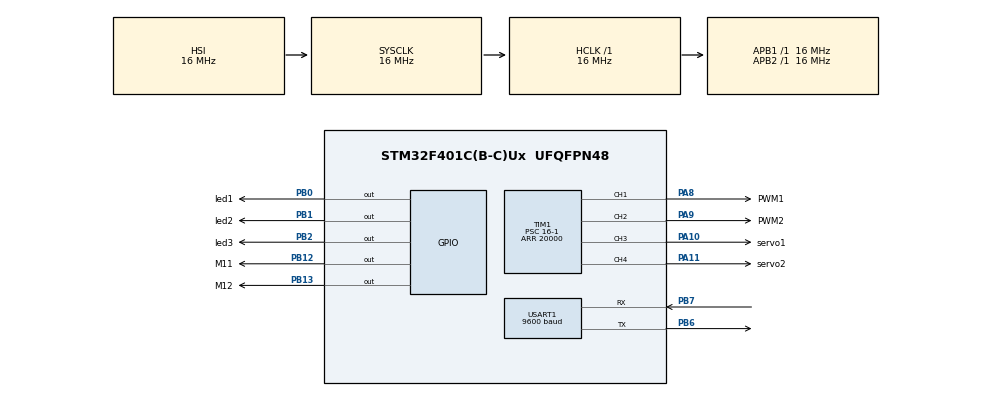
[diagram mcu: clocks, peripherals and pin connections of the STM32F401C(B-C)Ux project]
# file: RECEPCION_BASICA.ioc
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Mcu.Family=STM32F4
Mcu.Name=STM32F401C(B-C)Ux
Mcu.Package=UFQFPN48
Mcu.UserConstants=PWM1_CH,TIM_CHANNEL_1;PWM2_CH,TIM_CHANNEL_2;PWM1,TIM1->CCR1;PWM2,TIM1->CCR2;PWMTIM1,TIM1;PWMT1,$$_TIM1_IP_HANDLE_$$;SERVO1_CH,TIM_CHANNEL_3;SERVO2_CH,TIM_CHANNEL_4;SERVO1,TIM1->CCR3;SERVO2,TIM1->CCR4
NVIC.PriorityGroup=NVIC_PRIORITYGROUP_4
PA10.GPIO_Label=servo1
PA10.Signal=S_TIM1_CH3
PA11.GPIO_Label=servo2
PA11.Signal=S_TIM1_CH4
PA8.GPIO_Label=PWM1
PA8.Signal=S_TIM1_CH1
PA9.GPIO_Label=PWM2
PA9.Signal=S_TIM1_CH2
PB0.GPIO_Label=led1
PB0.Signal=GPIO_Output
PB1.GPIO_Label=led2
PB1.Signal=GPIO_Output
PB12.GPIO_Label=M11
PB12.Signal=GPIO_Output
PB13.GPIO_Label=M12
PB13.Signal=GPIO_Output
PB2.GPIO_Label=led3
PB2.Signal=GPIO_Output
PB6.Mode=Asynchronous
PB6.Signal=USART1_TX
PB7.Mode=Asynchronous
PB7.Signal=USART1_RX
PH0\ -\ OSC_IN.Mode=HSE-External-Oscillator
PH0\ -\ OSC_IN.Signal=RCC_OSC_IN
PH1\ -\ OSC_OUT.Mode=HSE-External-Oscillator
PH1\ -\ OSC_OUT.Signal=RCC_OSC_OUT
ProjectManager.HeapSize=0x200
ProjectManager.StackSize=0x400
ProjectManager.TargetToolchain=STM32CubeIDE
RCC.AHBFreq_Value=16000000
RCC.APB1Freq_Value=16000000
RCC.APB2Freq_Value=16000000
RCC.CortexFreq_Value=16000000
RCC.HSE_VALUE=25000000
RCC.HSI_VALUE=16000000
RCC.LSE_VALUE=32768
RCC.SYSCLKFreq_VALUE=16000000
RCC.VCOOutputFreq_Value=192000000
SH.S_TIM1_CH1.0=TIM1_CH1,PWM Generation1 CH1
SH.S_TIM1_CH2.0=TIM1_CH2,PWM Generation2 CH2
SH.S_TIM1_CH3.0=TIM1_CH3,PWM Generation3 CH3
SH.S_TIM1_CH4.0=TIM1_CH4,PWM Generation4 CH4
TIM1.Channel-PWM\ Generation1\ CH1=TIM_CHANNEL_1
TIM1.Channel-PWM\ Generation2\ CH2=TIM_CHANNEL_2
TIM1.Channel-PWM\ Generation3\ CH3=TIM_CHANNEL_3
TIM1.Channel-PWM\ Generation4\ CH4=TIM_CHANNEL_4
TIM1.Period=20000
TIM1.Prescaler=16-1
USART1.BaudRate=9600
USART1.VirtualMode=VM_ASYNC
VP_TIM1_VS_ClockSourceINT.Mode=Internal
board=custom

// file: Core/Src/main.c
/* USER CODE BEGIN Header */
/**
  ******************************************************************************
  * @file           : main.c
  * @brief          : Main program body
  ******************************************************************************
  * @attention
  *
  * Copyright (c) 2023 STMicroelectronics.
  * All rights reserved.
  *
  * This software is licensed under terms that can be found in the LICENSE file
  * in the root directory of this software component.
  * If no LICENSE file comes with this software, it is provided AS-IS.
  *
  ******************************************************************************
  */
/* USER CODE END Header */
#include "main.h"

/* USER CODE BEGIN Includes */
#include "uart.h"
#include "PWM.h"
#include "servos.h"
/* USER CODE END Includes */

TIM_HandleTypeDef htim1;

UART_HandleTypeDef huart1;

/* USER CODE BEGIN PV */

uint8_t trama_rx[100];
uint8_t texto[100];
uint8_t captura[30];
uint8_t  valor;

/* USER CODE END PV */

void SystemClock_Config(void);
static void MX_GPIO_Init(void);
static void MX_USART1_UART_Init(void);
static void MX_TIM1_Init(void);

/* USER CODE BEGIN 0 */
void m1derecha()
{
HAL_GPIO_WritePin(M11_GPIO_Port, M11_Pin, 0);
HAL_GPIO_WritePin(M12_GPIO_Port, M12_Pin, 1);

}

void m1izquierda()
{
HAL_GPIO_WritePin(M11_GPIO_Port, M11_Pin, 1);
HAL_GPIO_WritePin(M12_GPIO_Port, M12_Pin, 0);

}

void m1stop()
{
	HAL_GPIO_WritePin(M11_GPIO_Port, M11_Pin, 0);
	HAL_GPIO_WritePin(M12_GPIO_Port, M12_Pin, 0);

}
void procesarx()
{
	if (strstr(trama_rx,"M1DER")) m1derecha();
	else if (strstr(trama_rx,"M1IZQ")) m1izquierda();
	else if (strstr(trama_rx,"M1STOP")) m1stop();

	else if (strstr(trama_rx,"LED2="))
	 {
	 if (strstr(trama_rx,"ON"))  led2_GPIO_Port->BSRR=led2_Pin;  //pone un uno
	 else led2_GPIO_Port->BSRR=led2_Pin<<16; //pode un cero
	 }

	else if (strstr(trama_rx,"LED3="))
		 {
		 if (strstr(trama_rx,"ON"))  led3_GPIO_Port->BSRR=led3_Pin;  //pone un uno
		 else  HAL_GPIO_WritePin(led3_GPIO_Port, led3_Pin, 0);		 }

	else if (strstr(trama_rx,"LEDON="))
	{
		  strcpy(texto, strtok(trama_rx, "="));  //inicia captura de tokens
      	strcpy(texto, strtok(0, "/"));  //captura primer dato
         valor=atoi(texto);

         switch  (valor)
         {
         case 2:
        	 HAL_GPIO_WritePin(led2_GPIO_Port, led2_Pin, 1);

        	 break;

         case 3:
        	 HAL_GPIO_WritePin(led3_GPIO_Port, led3_Pin, 1);

        	 break;

         }//switch

	}//else if

	else if (strstr(trama_rx,"LEDOFF="))
		{
			  strcpy(texto, strtok(trama_rx, "="));  //inicia captura de tokens
	      	strcpy(texto, strtok(0, "/"));  //captura primer dato
	         valor=atoi(texto);

	         switch  (valor)
	         {
	         case 2:
	        	 HAL_GPIO_WritePin(led2_GPIO_Port, led2_Pin, 0);

	        	 break;

	         case 3:
	        	 HAL_GPIO_WritePin(led3_GPIO_Port, led3_Pin, 0);

	        	 break;

	         }//switch

	       		}//else if

	else if (strstr(trama_rx,"VEL1="))
			         	{
			         strcpy(texto, strtok(trama_rx, "="));  //inicia captura de tokens
			          strcpy(texto, strtok(0, "/"));  //captura primer dato
			           valor=atoi(texto);
			          pwm_valor(&PWM1, valor);
			        	}

}
/* USER CODE END 0 */

int main(void)
{

  /* MCU Configuration--------------------------------------------------------*/

  /* Reset of all peripherals, Initializes the Flash interface and the Systick. */
  HAL_Init();

  /* Configure the system clock */
  SystemClock_Config();

  /* Initialize all configured peripherals */
  MX_GPIO_Init();
  MX_USART1_UART_Init();
  MX_TIM1_Init();
  /* USER CODE BEGIN 2 */

    PWM_init(&PWMT1, PWM1_CH); //INICIA DEL TIMER1 EL CANALPWM1
    PWM_init(&PWMT1, PWM2_CH); //INICIA DEL TIMER 1 EL CANAL PWM2

    SERVO_init(&PWMT1, SERVO1_CH);
    SERVO_init(&PWMT1, SERVO2_CH);

    // pwm_valor(&PWM1, 10);
    // pwm_valor(&PWM2, 50);

      SERVO_ANG(&SERVO1, -80);
      SERVO_ANG(&SERVO2, 90);

  uartx_write_text(&huart1, "HOLA\r\n");
  /* USER CODE END 2 */

  /* Infinite loop */
  /* USER CODE BEGIN WHILE */
  while (1)
  {

     uartx_read_text(&huart1, trama_rx, '*',50);
   // uartx_write_text(&huart1, trama_rx);

     procesarx();

	  HAL_GPIO_TogglePin(led1_GPIO_Port, led1_Pin);
	  HAL_Delay(200);

    /* USER CODE END WHILE */

  }
}

void SystemClock_Config(void)
{
  RCC_OscInitTypeDef RCC_OscInitStruct = {0};
  RCC_ClkInitTypeDef RCC_ClkInitStruct = {0};

  /** Configure the main internal regulator output voltage
  */
  __HAL_RCC_PWR_CLK_ENABLE();
  __HAL_PWR_VOLTAGESCALING_CONFIG(PWR_REGULATOR_VOLTAGE_SCALE2);

  /** Initializes the RCC Oscillators according to the specified parameters
  * in the RCC_OscInitTypeDef structure.
  */
  RCC_OscInitStruct.OscillatorType = RCC_OSCILLATORTYPE_HSI;
  RCC_OscInitStruct.HSIState = RCC_HSI_ON;
  RCC_OscInitStruct.HSICalibrationValue = RCC_HSICALIBRATION_DEFAULT;
  RCC_OscInitStruct.PLL.PLLState = RCC_PLL_NONE;
  if (HAL_RCC_OscConfig(&RCC_OscInitStruct) != HAL_OK)
  {
    Error_Handler();
  }

  /** Initializes the CPU, AHB and APB buses clocks
  */
  RCC_ClkInitStruct.ClockType = RCC_CLOCKTYPE_HCLK|RCC_CLOCKTYPE_SYSCLK
                              |RCC_CLOCKTYPE_PCLK1|RCC_CLOCKTYPE_PCLK2;
  RCC_ClkInitStruct.SYSCLKSource = RCC_SYSCLKSOURCE_HSI;
  RCC_ClkInitStruct.AHBCLKDivider = RCC_SYSCLK_DIV1;
  RCC_ClkInitStruct.APB1CLKDivider = RCC_HCLK_DIV1;
  RCC_ClkInitStruct.APB2CLKDivider = RCC_HCLK_DIV1;

  if (HAL_RCC_ClockConfig(&RCC_ClkInitStruct, FLASH_LATENCY_0) != HAL_OK)
  {
    Error_Handler();
  }
}

static void MX_TIM1_Init(void)
{

  TIM_ClockConfigTypeDef sClockSourceConfig = {0};
  TIM_MasterConfigTypeDef sMasterConfig = {0};
  TIM_OC_InitTypeDef sConfigOC = {0};
  TIM_BreakDeadTimeConfigTypeDef sBreakDeadTimeConfig = {0};

  htim1.Instance = TIM1;
  htim1.Init.Prescaler = 16-1;
  htim1.Init.CounterMode = TIM_COUNTERMODE_UP;
  htim1.Init.Period = 20000;
  htim1.Init.ClockDivision = TIM_CLOCKDIVISION_DIV1;
  htim1.Init.RepetitionCounter = 0;
  htim1.Init.AutoReloadPreload = TIM_AUTORELOAD_PRELOAD_DISABLE;
  if (HAL_TIM_Base_Init(&htim1) != HAL_OK)
  {
    Error_Handler();
  }
  sClockSourceConfig.ClockSource = TIM_CLOCKSOURCE_INTERNAL;
  if (HAL_TIM_ConfigClockSource(&htim1, &sClockSourceConfig) != HAL_OK)
  {
    Error_Handler();
  }
  if (HAL_TIM_PWM_Init(&htim1) != HAL_OK)
  {
    Error_Handler();
  }
  sMasterConfig.MasterOutputTrigger = TIM_TRGO_RESET;
  sMasterConfig.MasterSlaveMode = TIM_MASTERSLAVEMODE_DISABLE;
  if (HAL_TIMEx_MasterConfigSynchronization(&htim1, &sMasterConfig) != HAL_OK)
  {
    Error_Handler();
  }
  sConfigOC.OCMode = TIM_OCMODE_PWM1;
  sConfigOC.Pulse = 0;
  sConfigOC.OCPolarity = TIM_OCPOLARITY_HIGH;
  sConfigOC.OCNPolarity = TIM_OCNPOLARITY_HIGH;
  sConfigOC.OCFastMode = TIM_OCFAST_DISABLE;
  sConfigOC.OCIdleState = TIM_OCIDLESTATE_RESET;
  sConfigOC.OCNIdleState = TIM_OCNIDLESTATE_RESET;
  if (HAL_TIM_PWM_ConfigChannel(&htim1, &sConfigOC, TIM_CHANNEL_1) != HAL_OK)
  {
    Error_Handler();
  }
  if (HAL_TIM_PWM_ConfigChannel(&htim1, &sConfigOC, TIM_CHANNEL_2) != HAL_OK)
  {
    Error_Handler();
  }
  if (HAL_TIM_PWM_ConfigChannel(&htim1, &sConfigOC, TIM_CHANNEL_3) != HAL_OK)
  {
    Error_Handler();
  }
  if (HAL_TIM_PWM_ConfigChannel(&htim1, &sConfigOC, TIM_CHANNEL_4) != HAL_OK)
  {
    Error_Handler();
  }
  sBreakDeadTimeConfig.OffStateRunMode = TIM_OSSR_DISABLE;
  sBreakDeadTimeConfig.OffStateIDLEMode = TIM_OSSI_DISABLE;
  sBreakDeadTimeConfig.LockLevel = TIM_LOCKLEVEL_OFF;
  sBreakDeadTimeConfig.DeadTime = 0;
  sBreakDeadTimeConfig.BreakState = TIM_BREAK_DISABLE;
  sBreakDeadTimeConfig.BreakPolarity = TIM_BREAKPOLARITY_HIGH;
  sBreakDeadTimeConfig.AutomaticOutput = TIM_AUTOMATICOUTPUT_DISABLE;
  if (HAL_TIMEx_ConfigBreakDeadTime(&htim1, &sBreakDeadTimeConfig) != HAL_OK)
  {
    Error_Handler();
  }
  HAL_TIM_MspPostInit(&htim1);

}

static void MX_USART1_UART_Init(void)
{

  huart1.Instance = USART1;
  huart1.Init.BaudRate = 9600;
  huart1.Init.WordLength = UART_WORDLENGTH_8B;
  huart1.Init.StopBits = UART_STOPBITS_1;
  huart1.Init.Parity = UART_PARITY_NONE;
  huart1.Init.Mode = UART_MODE_TX_RX;
  huart1.Init.HwFlowCtl = UART_HWCONTROL_NONE;
  huart1.Init.OverSampling = UART_OVERSAMPLING_16;
  if (HAL_UART_Init(&huart1) != HAL_OK)
  {
    Error_Handler();
  }

}

static void MX_GPIO_Init(void)
{
  GPIO_InitTypeDef GPIO_InitStruct = {0};

  /* GPIO Ports Clock Enable */
  __HAL_RCC_GPIOH_CLK_ENABLE();
  __HAL_RCC_GPIOB_CLK_ENABLE();
  __HAL_RCC_GPIOA_CLK_ENABLE();

  /*Configure GPIO pin Output Level */
  HAL_GPIO_WritePin(GPIOB, led1_Pin|led2_Pin|led3_Pin|M11_Pin
                          |M12_Pin, GPIO_PIN_RESET);

  /*Configure GPIO pins : led1_Pin led2_Pin led3_Pin M11_Pin
                           M12_Pin */
  GPIO_InitStruct.Pin = led1_Pin|led2_Pin|led3_Pin|M11_Pin
                          |M12_Pin;
  GPIO_InitStruct.Mode = GPIO_MODE_OUTPUT_PP;
  GPIO_InitStruct.Pull = GPIO_NOPULL;
  GPIO_InitStruct.Speed = GPIO_SPEED_FREQ_LOW;
  HAL_GPIO_Init(GPIOB, &GPIO_InitStruct);

}

void Error_Handler(void)
{
  __disable_irq();
  while (1)
  {
  }
}
